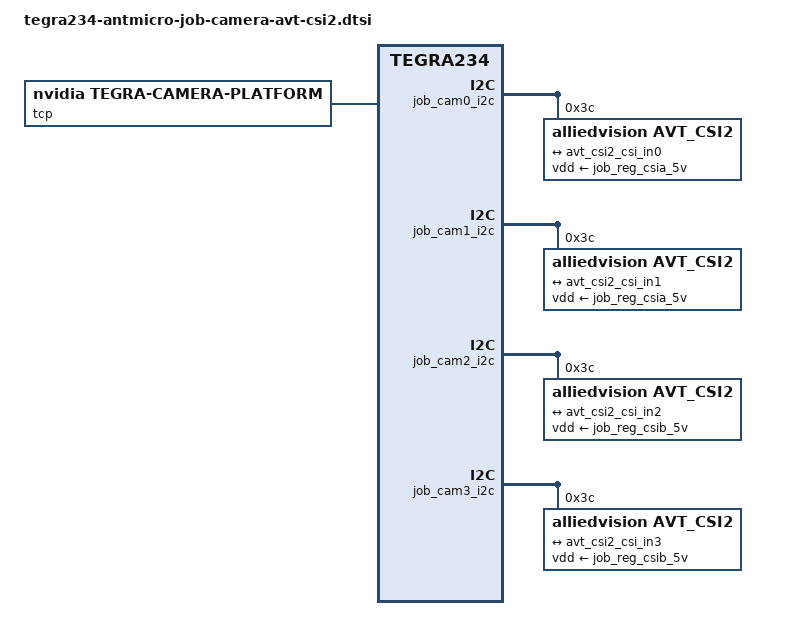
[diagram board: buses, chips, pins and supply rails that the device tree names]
/*
 * Copyright (c) 2022, NVIDIA CORPORATION.  All rights reserved.
 * Copyright (c) 2023, Antmicro Ltd. All rights reserved.
 *
 * This program is free software; you can redistribute it and/or modify
 * it under the terms of the GNU General Public License as published by
 * the Free Software Foundation; either version 2 of the License, or
 * (at your option) any later version.
 *
 * This program is distributed in the hope that it will be useful, but WITHOUT
 * ANY WARRANTY; without even the implied warranty of MERCHANTABILITY or
 * FITNESS FOR A PARTICULAR PURPOSE.  See the GNU General Public License for
 * more details.
 *
 * You should have received a copy of the GNU General Public License
 * along with this program.  If not, see <http://www.gnu.org/licenses/>.
 */
#include <dt-bindings/media/camera.h>

/*

This DTSI file implements support for Allied Vision cameras.

====== Power management ======
CSI A and CSA B connectors feature GPIO-controlled 5V and 3V3 power supplies. OV5640 uses only 3V3 rails, controlled
by following regulators:
- job_reg_csia_5v for CSI A
- job_reg_csib_5v for CSI B

====== I2C routing ======
- Camera 0: SCL/SDA_CAM0 (job_cam0_i2c)
- Camera 1: SCL/SDA_CAM1 (job_cam1_i2c)
- Camera 2: SCL/SDA_CAM2 (job_cam2_i2c)
- Camera 3: SCL/SDA_CAM3 (job_cam3_i2c)

====== CSI lane mapping ======
- Camera 0: CSI0 = CSI_A [CLK, D0, D1]
- Camera 1: CSI2 = CSI_C [CLK, D0, D1]
- Camera 2: CSI1 = CSI_B [CLK, D0, D1]
- Camera 3: CSI3 = CSI_D [CLK, D0, D1]

====== CSI lane polarity ======

See Jetson Orin NX Design Guide DG-10931-001 fig.10-1.:
- CSI0_D1 is inverted on SoM
- CSI1_D0 is inverted on SoM

*/


// Camera nodes
&job_cam0_i2c {
	avt_csi2@3c {
		compatible = "alliedvision,avt_csi2";
		/* I2C device address */
		reg = <0x3c>;

		status = "okay";

		/* V4L2 device node location */
		devnode = "video0";
		nvidia,no-sensor-bus-introspection;
		vdd-supply = <&job_reg_csia_5v>;

		mode0 {
			num_lanes = "2";
			lane_polarity = "6";
			tegra_sinterface = "serial_a";
			discontinuous_clk = "no";
			cil_settletime = "0";
			embedded_metadata_height = "0";

			/* not verified: */
			mclk_khz = "24000";
			phy_mode = "DPHY";
			dpcm_enable = "false";

			active_w = "5488";
			active_h = "4112";
			pixel_t = "bayer_bggr";
			csi_pixel_bit_depth = "4";
			readout_orientation = "0";
			line_length = "5488";
			inherent_gain = "1";
			mclk_multiplier = "31.25";
			pix_clk_hz = "750000000";

			gain_factor = "16";
			framerate_factor = "1000000";
			exposure_factor = "1000000";
			min_gain_val = "16"; /* 1.0 */
			max_gain_val = "256"; /* 16.0 */
			step_gain_val = "1"; /* 0.125 */
			min_hdr_ratio = "1";
			max_hdr_ratio = "64";
			min_framerate = "1500000"; /* 1.5 */
			max_framerate = "30000000"; /* 30 */
			step_framerate = "1";
			min_exp_time = "34"; /* us */
			max_exp_time = "550385"; /* us */
			step_exp_time = "1";
		};

		ports {
			#address-cells = <1>;
			#size-cells = <0>;
			port@0 {
				reg = <0>;
				avt_csi2_out0: endpoint {
					port-index = <0>;
					bus-width = <2>;
					remote-endpoint = <&avt_csi2_csi_in0>;
				};
			};
		};
	};
};

&job_cam1_i2c {
	avt_csi2@3c {
		compatible = "alliedvision,avt_csi2";
		/* I2C device address */
		reg = <0x3c>;

		status = "okay";

		/* V4L2 device node location */
		devnode = "video1";
		nvidia,no-sensor-bus-introspection;
		vdd-supply = <&job_reg_csia_5v>;

		mode0 {
			num_lanes = "2";
			tegra_sinterface = "serial_a";
			discontinuous_clk = "no";
			cil_settletime = "0";
			embedded_metadata_height = "0";

			/* not verified: */
			mclk_khz = "24000";
			phy_mode = "DPHY";
			dpcm_enable = "false";

			active_w = "5488";
			active_h = "4112";
			pixel_t = "bayer_bggr";
			csi_pixel_bit_depth = "4";
			readout_orientation = "0";
			line_length = "5488";
			inherent_gain = "1";
			mclk_multiplier = "31.25";
			pix_clk_hz = "750000000";

			gain_factor = "16";
			framerate_factor = "1000000";
			exposure_factor = "1000000";
			min_gain_val = "16"; /* 1.0 */
			max_gain_val = "256"; /* 16.0 */
			step_gain_val = "1"; /* 0.125 */
			min_hdr_ratio = "1";
			max_hdr_ratio = "64";
			min_framerate = "1500000"; /* 1.5 */
			max_framerate = "30000000"; /* 30 */
			step_framerate = "1";
			min_exp_time = "34"; /* us */
			max_exp_time = "550385"; /* us */
			step_exp_time = "1";
		};

		ports {
			#address-cells = <1>;
			#size-cells = <0>;
			port@0 {
				reg = <0>;
				avt_csi2_out1: endpoint {
					port-index = <0>;
					bus-width = <2>;
					remote-endpoint = <&avt_csi2_csi_in1>;
				};
			};
		};
	};
};

&job_cam2_i2c {
	avt_csi2@3c {
		compatible = "alliedvision,avt_csi2";
		/* I2C device address */
		reg = <0x3c>;

		status = "okay";

		/* V4L2 device node location */
		devnode = "video2";
		nvidia,no-sensor-bus-introspection;
		vdd-supply = <&job_reg_csib_5v>;

		mode0 {
			num_lanes = "2";
			lane_polarity = "6";
			tegra_sinterface = "serial_a";
			discontinuous_clk = "no";
			cil_settletime = "0";
			embedded_metadata_height = "0";

			/* not verified: */
			mclk_khz = "24000";
			phy_mode = "DPHY";
			dpcm_enable = "false";

			active_w = "5488";
			active_h = "4112";
			pixel_t = "bayer_bggr";
			csi_pixel_bit_depth = "4";
			readout_orientation = "0";
			line_length = "5488";
			inherent_gain = "1";
			mclk_multiplier = "31.25";
			pix_clk_hz = "750000000";

			gain_factor = "16";
			framerate_factor = "1000000";
			exposure_factor = "1000000";
			min_gain_val = "16"; /* 1.0 */
			max_gain_val = "256"; /* 16.0 */
			step_gain_val = "1"; /* 0.125 */
			min_hdr_ratio = "1";
			max_hdr_ratio = "64";
			min_framerate = "1500000"; /* 1.5 */
			max_framerate = "30000000"; /* 30 */
			step_framerate = "1";
			min_exp_time = "34"; /* us */
			max_exp_time = "550385"; /* us */
			step_exp_time = "1";
		};

		ports {
			#address-cells = <1>;
			#size-cells = <0>;
			port@0 {
				reg = <0>;
				avt_csi2_out2: endpoint {
					port-index = <0>;
					bus-width = <2>;
					remote-endpoint = <&avt_csi2_csi_in2>;
				};
			};
		};
	};
};

&job_cam3_i2c {
	avt_csi2@3c {
		compatible = "alliedvision,avt_csi2";
		/* I2C device address */
		reg = <0x3c>;

		status = "okay";

		/* V4L2 device node location */
		devnode = "video3";
		nvidia,no-sensor-bus-introspection;
		vdd-supply = <&job_reg_csib_5v>;

		mode0 {
			num_lanes = "2";
			tegra_sinterface = "serial_a";
			discontinuous_clk = "no";
			cil_settletime = "0";
			embedded_metadata_height = "0";

			/* not verified: */
			mclk_khz = "24000";
			phy_mode = "DPHY";
			dpcm_enable = "false";

			active_w = "5488";
			active_h = "4112";
			pixel_t = "bayer_bggr";
			csi_pixel_bit_depth = "4";
			readout_orientation = "0";
			line_length = "5488";
			inherent_gain = "1";
			mclk_multiplier = "31.25";
			pix_clk_hz = "750000000";

			gain_factor = "16";
			framerate_factor = "1000000";
			exposure_factor = "1000000";
			min_gain_val = "16"; /* 1.0 */
			max_gain_val = "256"; /* 16.0 */
			step_gain_val = "1"; /* 0.125 */
			min_hdr_ratio = "1";
			max_hdr_ratio = "64";
			min_framerate = "1500000"; /* 1.5 */
			max_framerate = "30000000"; /* 30 */
			step_framerate = "1";
			min_exp_time = "34"; /* us */
			max_exp_time = "550385"; /* us */
			step_exp_time = "1";
		};

		ports {
			#address-cells = <1>;
			#size-cells = <0>;
			port@0 {
				reg = <0>;
				avt_csi2_out3: endpoint {
					port-index = <0>;
					bus-width = <2>;
					remote-endpoint = <&avt_csi2_csi_in3>;
				};
			};
		};
	};
};

/ {
	// NVCSI configuration
	host1x@13e00000 {
		nvcsi@15a00000 {
			num-channels = <4>;
			#address-cells = <1>;
			#size-cells = <0>;
			channel@0 {
				reg = <0>;
				ports {
					#address-cells = <1>;
					#size-cells = <0>;
					port@0 {
						reg = <0>;
						avt_csi2_csi_in0: endpoint@0 {
							port-index = <0>;
							bus-width = <2>;
							remote-endpoint = <&avt_csi2_out0>;
						};
					};
					port@1 {
						reg = <1>;
						avt_csi2_csi_out0: endpoint@1 {
							remote-endpoint = <&avt_csi2_vi_in0>;
						};
					};
				};
			};
			channel@1 {
				reg = <1>;
				ports {
					#address-cells = <1>;
					#size-cells = <0>;
					port@0 {
						reg = <0>;
						avt_csi2_csi_in1: endpoint@0 {
							port-index = <2>;
							bus-width = <2>;
							remote-endpoint = <&avt_csi2_csi_in1>;
						};
					};
					port@1 {
						reg = <1>;
						avt_csi2_csi_out2: endpoint@1 {
							remote-endpoint = <&avt_csi2_vi_in2>;
						};
					};
				};
			};
			channel@2 {
				reg = <2>;
				ports {
					#address-cells = <1>;
					#size-cells = <0>;
					port@0 {
						reg = <0>;
						avt_csi2_csi_in2: endpoint@0 {
							port-index = <1>;
							bus-width = <2>;
							remote-endpoint = <&avt_csi2_out2>;
						};
					};
					port@1 {
						reg = <1>;
						avt_csi2_csi_out1: endpoint@1 {
							remote-endpoint = <&avt_csi2_vi_in1>;
						};
					};
				};
			};
			channel@3 {
				reg = <3>;
				ports {
					#address-cells = <1>;
					#size-cells = <0>;
					port@0 {
						reg = <0>;
						avt_csi2_csi_in3: endpoint@0 {
							port-index = <3>;
							bus-width = <2>;
							remote-endpoint = <&avt_csi2_out3>;
						};
					};
					port@1 {
						reg = <1>;
						avt_csi2_csi_out3: endpoint@1 {
							remote-endpoint = <&avt_csi2_vi_in3>;
						};
					};
				};
			};
		};
	};

	// VI configuration
	tegra-capture-vi {
		num-channels = <4>;
		ports {
			#address-cells = <1>;
			#size-cells = <0>;
			port@0 {
				reg = <0>;
				avt_csi2_vi_in0: endpoint {
					port-index = <0>;
					bus-width = <2>;
					remote-endpoint = <&avt_csi2_csi_out0>;
				};
			};
			port@1 {
				reg = <1>;
				avt_csi2_vi_in2: endpoint {
					port-index = <2>;
					bus-width = <2>;
					remote-endpoint = <&avt_csi2_csi_out2>;
				};
			};
			port@2 {
				reg = <2>;
				avt_csi2_vi_in1: endpoint {
					port-index = <1>;
					bus-width = <2>;
					remote-endpoint = <&avt_csi2_csi_out1>;
				};
			};
			port@3 {
				reg = <3>;
				avt_csi2_vi_in3: endpoint {
					port-index = <3>;
					bus-width = <2>;
					remote-endpoint = <&avt_csi2_csi_out3>;
				};
			};
		};
	};
	
	// Although our configuration is only made to support V4L2, this node is still required since
	// NVCSI/VI drivers rely on some timing computations done by TCP driver
	tcp: tegra-camera-platform {
		compatible = "nvidia, tegra-camera-platform";
		status = "okay";
		/**
		* Physical settings to calculate max ISO BW
		*
		* num_csi_lanes = <>;
		* Total number of CSI lanes when all cameras are active
		*
		* max_lane_speed = <>;
		* Max lane speed in Kbit/s
		*
		* min_bits_per_pixel = <>;
		* Min bits per pixel
		*
		* vi_peak_byte_per_pixel = <>;
		* Max byte per pixel for the VI ISO case
		*
		* vi_bw_margin_pct = <>;
		* Vi bandwidth margin in percentage
		*
		* max_pixel_rate = <>;
		* Max pixel rate in Kpixel/s for the ISP ISO case
		*
		* isp_peak_byte_per_pixel = <>;
		* Max byte per pixel for the ISP ISO case
		*
		* isp_bw_margin_pct = <>;
		* Isp bandwidth margin in percentage
		*/
		num_csi_lanes = <8>;
		max_lane_speed = <1500000>;
		min_bits_per_pixel = <10>;
		vi_peak_byte_per_pixel = <2>;
		vi_bw_margin_pct = <25>;
		max_pixel_rate = <240000>;
		isp_peak_byte_per_pixel = <5>;
		isp_bw_margin_pct = <25>;
	};
};
